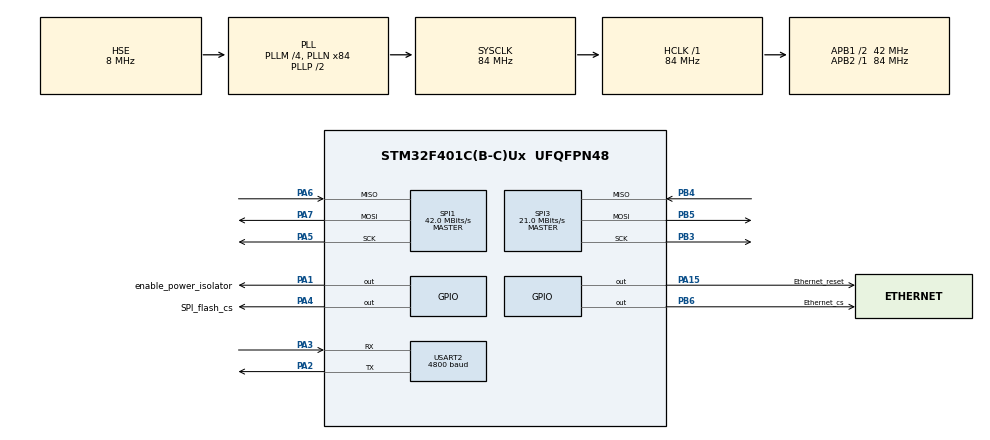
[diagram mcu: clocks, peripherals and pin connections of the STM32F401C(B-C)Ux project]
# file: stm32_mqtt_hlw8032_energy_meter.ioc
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FREERTOS.HEAP_NUMBER=1
FREERTOS.Mutexes01=Network,Dynamic,NULL;LFS,Dynamic,NULL;Socket,Dynamic,NULL;ServiceSocket,Dynamic,NULL
FREERTOS.Queues01=rowPowerSensorQ,1,30,1,Dynamic,NULL,NULL;EthernetInfoQ,1,Ethernet_info_struct,0,Dynamic,NULL,NULL;PowerDataQ,1,PowerSensStruct,0,Dynamic,NULL,NULL;Curr_sensor_settings,1,P_sens_sett_struct,0,Dynamic,NULL,NULL;mqttQ,1,MQTT_cred_struct,0,Dynamic,NULL,NULL;mb_tcp_settingsQ,1,ModBusTCP_struct,0,Dynamic,NULL,NULL;uptimeQ,1,uint32_t,0,Dynamic,NULL,NULL
FREERTOS.Tasks01=defaultTask,24,128,StartDefaultTask,Default,NULL,Dynamic,NULL,NULL;SensorsTask,8,128,vSensorsTask,Default,NULL,Dynamic,NULL,NULL;RW_Settings_Tas,8,900,vRW_Settings_Tas,Default,NULL,Dynamic,NULL,NULL;oneSecondTickTa,8,200,vOneSecondTickTask,Default,NULL,Dynamic,NULL,NULL;maintEthTask,8,2000,vMaintEthTask,Default,NULL,Dynamic,NULL,NULL;DebugMemUsageT,8,128,vDebugMemUsage,Default,NULL,Dynamic,NULL,NULL;httpServTask,8,2000,httpServ,Default,NULL,Dynamic,NULL,NULL;mqttClientTask,8,1000,vMQTT_Task,Default,NULL,Dynamic,NULL,NULL;resetWatchDog,8,128,vResetWatchDog,Default,NULL,Dynamic,NULL,NULL;SendBroadcast,8,256,vSendBroadcast,Default,NULL,Dynamic,NULL,NULL
FREERTOS.configGENERATE_RUN_TIME_STATS=1
FREERTOS.configQUEUE_REGISTRY_SIZE=10
FREERTOS.configTOTAL_HEAP_SIZE=45360
FREERTOS.configUSE_NEWLIB_REENTRANT=1
FREERTOS.configUSE_TICK_HOOK=1
IWDG.Prescaler=IWDG_PRESCALER_256
MBEDTLS.MBEDTLS_AESNI_C=1
MBEDTLS.MBEDTLS_MD2_C=1
MBEDTLS.MBEDTLS_MD4_C=1
MBEDTLS.MBEDTLS_MD5_C=1
MBEDTLS.MBEDTLS_NIST_KW_C=1
MBEDTLS.MBEDTLS_TCP_IP=0
MBEDTLS.MBEDTLS_X509_CRL_PARSE_C=1
MBEDTLS.MBEDTLS_X509_CSR_PARSE_C=1
MBEDTLS.MBEDTLS_XTEA_C=1
Mcu.Family=STM32F4
Mcu.Name=STM32F401C(B-C)Ux
Mcu.Package=UFQFPN48
NVIC.PriorityGroup=NVIC_PRIORITYGROUP_4
NVIC.TIM1_UP_TIM10_IRQn=true\:15\:0\:false\:false\:true\:false\:false\:true\:true
NVIC.TimeBase=TIM1_UP_TIM10_IRQn
NVIC.TimeBaseIP=TIM1
NVIC.USART2_IRQn=true\:5\:0\:false\:false\:true\:true\:true\:true\:true
PA1.GPIO_Label=enable_power_isolator
PA1.PinState=GPIO_PIN_SET
PA1.Signal=GPIO_Output
PA13.Mode=Serial_Wire
PA13.Signal=SYS_JTMS-SWDIO
PA14.Mode=Serial_Wire
PA14.Signal=SYS_JTCK-SWCLK
PA15.GPIO_Label=Ethernet_reset
PA15.Signal=GPIO_Output
PA2.Mode=Asynchronous
PA2.Signal=USART2_TX
PA3.Mode=Asynchronous
PA3.Signal=USART2_RX
PA4.GPIO_Label=SPI_flash_cs
PA4.GPIO_Speed=GPIO_SPEED_FREQ_VERY_HIGH
PA4.PinState=GPIO_PIN_SET
PA4.Signal=GPIO_Output
PA5.Mode=Full_Duplex_Master
PA5.Signal=SPI1_SCK
PA6.Mode=Full_Duplex_Master
PA6.Signal=SPI1_MISO
PA7.Mode=Full_Duplex_Master
PA7.Signal=SPI1_MOSI
PB3.Mode=Full_Duplex_Master
PB3.Signal=SPI3_SCK
PB4.Mode=Full_Duplex_Master
PB4.Signal=SPI3_MISO
PB5.Mode=Full_Duplex_Master
PB5.Signal=SPI3_MOSI
PB6.GPIO_Label=Ethernet_cs
PB6.Signal=GPIO_Output
PH0\ -\ OSC_IN.Mode=HSE-External-Oscillator
PH0\ -\ OSC_IN.Signal=RCC_OSC_IN
PH1\ -\ OSC_OUT.Mode=HSE-External-Oscillator
PH1\ -\ OSC_OUT.Signal=RCC_OSC_OUT
ProjectManager.HeapSize=0x200
ProjectManager.StackSize=0x400
ProjectManager.TargetToolchain=STM32CubeIDE
RCC.48MHZClocksFreq_Value=42000000
RCC.AHBFreq_Value=84000000
RCC.APB1CLKDivider=RCC_HCLK_DIV2
RCC.APB1Freq_Value=42000000
RCC.APB1TimFreq_Value=84000000
RCC.APB2Freq_Value=84000000
RCC.APB2TimFreq_Value=84000000
RCC.CortexFreq_Value=84000000
RCC.HCLKFreq_Value=84000000
RCC.HSE_VALUE=8000000
RCC.HSI_VALUE=16000000
RCC.LSE_VALUE=32768
RCC.PLLM=4
RCC.PLLN=84
RCC.PLLSourceVirtual=RCC_PLLSOURCE_HSE
RCC.SYSCLKFreq_VALUE=84000000
RCC.SYSCLKSource=RCC_SYSCLKSOURCE_PLLCLK
RCC.VCOOutputFreq_Value=168000000
SPI1.BaudRatePrescaler=SPI_BAUDRATEPRESCALER_2
SPI1.CLKPhase=SPI_PHASE_2EDGE
SPI1.CLKPolarity=SPI_POLARITY_HIGH
SPI1.CRCCalculation=SPI_CRCCALCULATION_DISABLE
SPI1.CalculateBaudRate=42.0 MBits/s
SPI1.Direction=SPI_DIRECTION_2LINES
SPI1.Mode=SPI_MODE_MASTER
SPI1.VirtualType=VM_MASTER
SPI3.BaudRatePrescaler=SPI_BAUDRATEPRESCALER_2
SPI3.CLKPhase=SPI_PHASE_2EDGE
SPI3.CLKPolarity=SPI_POLARITY_HIGH
SPI3.CalculateBaudRate=21.0 MBits/s
SPI3.Direction=SPI_DIRECTION_2LINES
SPI3.Mode=SPI_MODE_MASTER
SPI3.VirtualType=VM_MASTER
USART2.BaudRate=4800
USART2.Mode=MODE_RX
USART2.Parity=PARITY_EVEN
USART2.VirtualMode=VM_ASYNC
USART2.WordLength=WORDLENGTH_9B
VP_CRC_VS_CRC.Mode=CRC_Activate
VP_FREERTOS_VS_CMSIS_V2.Mode=CMSIS_V2
VP_IWDG_VS_IWDG.Mode=IWDG_Activate
VP_MBEDTLS_VS_MBEDTLS.Mode=Enabled
VP_SYS_VS_tim1.Mode=TIM1
board=custom

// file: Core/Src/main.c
/* USER CODE BEGIN Header */
/**
  ******************************************************************************
  * @file           : main.c
  * @brief          : Main program body
  ******************************************************************************
  * @attention
  *
  * Copyright (c) 2024 STMicroelectronics.
  * All rights reserved.
  *
  * This software is licensed under terms that can be found in the LICENSE file
  * in the root directory of this software component.
  * If no LICENSE file comes with this software, it is provided AS-IS.
  *
  ******************************************************************************
  */
/* USER CODE END Header */
#include "main.h"
#include "cmsis_os.h"
#include "mbedtls.h"

/* USER CODE BEGIN Includes */
#include "queue.h"
#include "HLW8032.h"
#include "SPI_flash_io.h"
#include "SPI_flash.h"
#include "spi_fs.h"
#include "lfs.h"
#include "lfs_config.h"

#include "ll_SPI_enh_abstractions.h"
#include "w5500.h"
#include "dhcp.h"
#include "socket.h"
#include "httpServer.h"
#include "httpUtil.h"
#include "ethernet_init.h"
#include "dns_service.h"
#include "http_app.h"
#include "dns_service.h"
#include "mqtt_gen_strings.h"
#include "mqtt_app.h"
#include "broadcast_mess.h"

#include "data_types.h"
#include "web_pages.h"
#include "md5.h"

/* USER CODE END Includes */

CRC_HandleTypeDef hcrc;

IWDG_HandleTypeDef hiwdg;

SPI_HandleTypeDef hspi1;
SPI_HandleTypeDef hspi3;

UART_HandleTypeDef huart2;

/* Definitions for defaultTask */
osThreadId_t defaultTaskHandle;
const osThreadAttr_t defaultTask_attributes = {
  .name = "defaultTask",
  .stack_size = 128 * 4,
  .priority = (osPriority_t) osPriorityNormal,
};
/* Definitions for SensorsTask */
osThreadId_t SensorsTaskHandle;
const osThreadAttr_t SensorsTask_attributes = {
  .name = "SensorsTask",
  .stack_size = 128 * 4,
  .priority = (osPriority_t) osPriorityLow,
};
/* Definitions for RW_Settings_Tas */
osThreadId_t RW_Settings_TasHandle;
const osThreadAttr_t RW_Settings_Tas_attributes = {
  .name = "RW_Settings_Tas",
  .stack_size = 900 * 4,
  .priority = (osPriority_t) osPriorityLow,
};
/* Definitions for oneSecondTickTa */
osThreadId_t oneSecondTickTaHandle;
const osThreadAttr_t oneSecondTickTa_attributes = {
  .name = "oneSecondTickTa",
  .stack_size = 200 * 4,
  .priority = (osPriority_t) osPriorityLow,
};
/* Definitions for maintEthTask */
osThreadId_t maintEthTaskHandle;
const osThreadAttr_t maintEthTask_attributes = {
  .name = "maintEthTask",
  .stack_size = 2000 * 4,
  .priority = (osPriority_t) osPriorityLow,
};
/* Definitions for DebugMemUsageT */
osThreadId_t DebugMemUsageTHandle;
const osThreadAttr_t DebugMemUsageT_attributes = {
  .name = "DebugMemUsageT",
  .stack_size = 128 * 4,
  .priority = (osPriority_t) osPriorityLow,
};
/* Definitions for httpServTask */
osThreadId_t httpServTaskHandle;
const osThreadAttr_t httpServTask_attributes = {
  .name = "httpServTask",
  .stack_size = 2000 * 4,
  .priority = (osPriority_t) osPriorityLow,
};
/* Definitions for mqttClientTask */
osThreadId_t mqttClientTaskHandle;
const osThreadAttr_t mqttClientTask_attributes = {
  .name = "mqttClientTask",
  .stack_size = 1000 * 4,
  .priority = (osPriority_t) osPriorityLow,
};
/* Definitions for resetWatchDog */
osThreadId_t resetWatchDogHandle;
const osThreadAttr_t resetWatchDog_attributes = {
  .name = "resetWatchDog",
  .stack_size = 128 * 4,
  .priority = (osPriority_t) osPriorityLow,
};
/* Definitions for SendBroadcast */
osThreadId_t SendBroadcastHandle;
const osThreadAttr_t SendBroadcast_attributes = {
  .name = "SendBroadcast",
  .stack_size = 256 * 4,
  .priority = (osPriority_t) osPriorityLow,
};
/* Definitions for rowPowerSensorQ */
osMessageQueueId_t rowPowerSensorQHandle;
const osMessageQueueAttr_t rowPowerSensorQ_attributes = {
  .name = "rowPowerSensorQ"
};
/* Definitions for EthernetInfoQ */
osMessageQueueId_t EthernetInfoQHandle;
const osMessageQueueAttr_t EthernetInfoQ_attributes = {
  .name = "EthernetInfoQ"
};
/* Definitions for PowerDataQ */
osMessageQueueId_t PowerDataQHandle;
const osMessageQueueAttr_t PowerDataQ_attributes = {
  .name = "PowerDataQ"
};
/* Definitions for Curr_sensor_settings */
osMessageQueueId_t Curr_sensor_settingsHandle;
const osMessageQueueAttr_t Curr_sensor_settings_attributes = {
  .name = "Curr_sensor_settings"
};
/* Definitions for mqttQ */
osMessageQueueId_t mqttQHandle;
const osMessageQueueAttr_t mqttQ_attributes = {
  .name = "mqttQ"
};
/* Definitions for mb_tcp_settingsQ */
osMessageQueueId_t mb_tcp_settingsQHandle;
const osMessageQueueAttr_t mb_tcp_settingsQ_attributes = {
  .name = "mb_tcp_settingsQ"
};
/* Definitions for uptimeQ */
osMessageQueueId_t uptimeQHandle;
const osMessageQueueAttr_t uptimeQ_attributes = {
  .name = "uptimeQ"
};
/* Definitions for Network */
osMutexId_t NetworkHandle;
const osMutexAttr_t Network_attributes = {
  .name = "Network"
};
/* Definitions for LFS */
osMutexId_t LFSHandle;
const osMutexAttr_t LFS_attributes = {
  .name = "LFS"
};
/* Definitions for Socket */
osMutexId_t SocketHandle;
const osMutexAttr_t Socket_attributes = {
  .name = "Socket"
};
/* Definitions for ServiceSocket */
osMutexId_t ServiceSocketHandle;
const osMutexAttr_t ServiceSocket_attributes = {
  .name = "ServiceSocket"
};
/* USER CODE BEGIN PV */
/* Define buffer for UART communication with power sensor via interrupt */
uint8_t data_bufer[30];
float	test_kWh_from_flash = 0.0;
float   test_kWh_from_read  = 0.0;
/* Define Memory pool for Ethernet info  */
//osMemoryPoolId_t EthernetEthPool;

/* USER CODE END PV */

void SystemClock_Config(void);
static void MX_GPIO_Init(void);
static void MX_USART2_UART_Init(void);
static void MX_SPI1_Init(void);
static void MX_SPI3_Init(void);
static void MX_CRC_Init(void);
static void MX_IWDG_Init(void);
void StartDefaultTask(void *argument);
void vSensorsTask(void *argument);
void vRW_Settings_Tas(void *argument);
void vOneSecondTickTask(void *argument);
void vMaintEthTask(void *argument);
void vDebugMemUsage(void *argument);
void httpServ(void *argument);
void vMQTT_Task(void *argument);
void vResetWatchDog(void *argument);
void vSendBroadcast(void *argument);

/* USER CODE BEGIN PFP */
void EthMutexTake(void);
void EthMutexRelease (void);
/* USER CODE END PFP */

/* USER CODE BEGIN 0 */
void HAL_UARTEx_RxEventCallback(UART_HandleTypeDef *huart, uint16_t Size){

	if (huart->Instance == USART2){
		if (Size == 24){
			if (!osMessageQueueGetCount(rowPowerSensorQHandle)){
				osMessageQueuePut(rowPowerSensorQHandle, &data_bufer, 0, 0);
			}
			HAL_UARTEx_ReceiveToIdle_IT(&huart2, data_bufer,  24);
		}
	}
}

void EthMutexTake(void){
	osMutexAcquire(NetworkHandle, osWaitForever);
}

void EthMutexRelease(void){
	osMutexRelease(NetworkHandle);
}

void LfsMutexTake(void){
	osMutexAcquire(LFSHandle, osWaitForever);
}

void LfsMutexRelease(void){
	osMutexRelease(LFSHandle);
}

void SocketMutexTake(void){
	osMutexAcquire(SocketHandle, osWaitForever);
}

void SocketMutexRelease(void){
	osMutexRelease(SocketHandle);
}

void ServiceSockMutexTake(){
	osMutexAcquire(ServiceSocketHandle, osWaitForever);
}

void ServiceSockMutexRelease(){
	osMutexRelease(ServiceSocketHandle);
}

void PowerON_HLW8032(){
	HAL_GPIO_WritePin(GPIOA, enable_power_isolator_Pin,GPIO_PIN_RESET);
}

void PowerOFF_HLW8032(){
	HAL_GPIO_WritePin(GPIOA, enable_power_isolator_Pin,GPIO_PIN_SET);
}

//void vApplicationTickHook(void){

//}
/* USER CODE END 0 */

int main(void)
{
  /* USER CODE BEGIN 1 */
	__disable_irq();
	SCB->VTOR = (uint32_t)0x08000000 | (0x08010000 & (uint32_t)0x1FFFFF80);
	 //NVIC_SetVectorTable(NVIC_VectTab_FLASH, 0x08010000);
	__enable_irq();
  /* USER CODE END 1 */

  /* MCU Configuration--------------------------------------------------------*/

  /* Reset of all peripherals, Initializes the Flash interface and the Systick. */
  HAL_Init();

  /* Configure the system clock */
  SystemClock_Config();

  /* USER CODE BEGIN SysInit */
  dns_service_reg_cb_net_ready(assigned_ip);
  /* USER CODE END SysInit */

  /* Initialize all configured peripherals */
  MX_GPIO_Init();
  MX_USART2_UART_Init();
  MX_SPI1_Init();
  MX_SPI3_Init();
  MX_MBEDTLS_Init();
  MX_CRC_Init();
  MX_IWDG_Init();
  /* Call PreOsInit function */
  MX_MBEDTLS_Init();
  /* USER CODE BEGIN 2 */
  /* add EthernetEthPool */
//  EthernetEthPool = osMemoryPoolNew(1, sizeof(Ethernet_info_struct), NULL);
//  if (EthernetEthPool == NULL) Error_Handler();

  /* USER CODE END 2 */

  /* Init scheduler */
  osKernelInitialize();
  /* Create the mutex(es) */
  /* creation of Network */
  NetworkHandle = osMutexNew(&Network_attributes);

  /* creation of LFS */
  LFSHandle = osMutexNew(&LFS_attributes);

  /* creation of Socket */
  SocketHandle = osMutexNew(&Socket_attributes);

  /* creation of ServiceSocket */
  ServiceSocketHandle = osMutexNew(&ServiceSocket_attributes);

  /* Create the queue(s) */
  /* creation of rowPowerSensorQ */
  rowPowerSensorQHandle = osMessageQueueNew (1, 30, &rowPowerSensorQ_attributes);

  /* creation of EthernetInfoQ */
  EthernetInfoQHandle = osMessageQueueNew (1, sizeof(Ethernet_info_struct), &EthernetInfoQ_attributes);

  /* creation of PowerDataQ */
  PowerDataQHandle = osMessageQueueNew (1, sizeof(PowerSensStruct), &PowerDataQ_attributes);

  /* creation of Curr_sensor_settings */
  Curr_sensor_settingsHandle = osMessageQueueNew (1, sizeof(P_sens_sett_struct), &Curr_sensor_settings_attributes);

  /* creation of mqttQ */
  mqttQHandle = osMessageQueueNew (1, sizeof(MQTT_cred_struct), &mqttQ_attributes);

  /* creation of mb_tcp_settingsQ */
  mb_tcp_settingsQHandle = osMessageQueueNew (1, sizeof(ModBusTCP_struct), &mb_tcp_settingsQ_attributes);

  /* creation of uptimeQ */
  uptimeQHandle = osMessageQueueNew (1, sizeof(uint32_t), &uptimeQ_attributes);

  /* Create the thread(s) */
  /* creation of defaultTask */
  defaultTaskHandle = osThreadNew(StartDefaultTask, NULL, &defaultTask_attributes);

  /* creation of SensorsTask */
  SensorsTaskHandle = osThreadNew(vSensorsTask, NULL, &SensorsTask_attributes);

  /* creation of RW_Settings_Tas */
  RW_Settings_TasHandle = osThreadNew(vRW_Settings_Tas, NULL, &RW_Settings_Tas_attributes);

  /* creation of oneSecondTickTa */
  oneSecondTickTaHandle = osThreadNew(vOneSecondTickTask, NULL, &oneSecondTickTa_attributes);

  /* creation of maintEthTask */
  maintEthTaskHandle = osThreadNew(vMaintEthTask, NULL, &maintEthTask_attributes);

  /* creation of DebugMemUsageT */
  DebugMemUsageTHandle = osThreadNew(vDebugMemUsage, NULL, &DebugMemUsageT_attributes);

  /* creation of httpServTask */
  httpServTaskHandle = osThreadNew(httpServ, NULL, &httpServTask_attributes);

  /* creation of mqttClientTask */
  mqttClientTaskHandle = osThreadNew(vMQTT_Task, NULL, &mqttClientTask_attributes);

  /* creation of resetWatchDog */
  resetWatchDogHandle = osThreadNew(vResetWatchDog, NULL, &resetWatchDog_attributes);

  /* creation of SendBroadcast */
  SendBroadcastHandle = osThreadNew(vSendBroadcast, NULL, &SendBroadcast_attributes);

  /* Start scheduler */
  osKernelStart();

  /* We should never get here as control is now taken by the scheduler */
  /* Infinite loop */
  while (1)
  {

  }
}

void SystemClock_Config(void)
{
  RCC_OscInitTypeDef RCC_OscInitStruct = {0};
  RCC_ClkInitTypeDef RCC_ClkInitStruct = {0};

  /** Configure the main internal regulator output voltage
  */
  __HAL_RCC_PWR_CLK_ENABLE();
  __HAL_PWR_VOLTAGESCALING_CONFIG(PWR_REGULATOR_VOLTAGE_SCALE2);

  /** Initializes the RCC Oscillators according to the specified parameters
  * in the RCC_OscInitTypeDef structure.
  */
  RCC_OscInitStruct.OscillatorType = RCC_OSCILLATORTYPE_LSI|RCC_OSCILLATORTYPE_HSE;
  RCC_OscInitStruct.HSEState = RCC_HSE_ON;
  RCC_OscInitStruct.LSIState = RCC_LSI_ON;
  RCC_OscInitStruct.PLL.PLLState = RCC_PLL_ON;
  RCC_OscInitStruct.PLL.PLLSource = RCC_PLLSOURCE_HSE;
  RCC_OscInitStruct.PLL.PLLM = 4;
  RCC_OscInitStruct.PLL.PLLN = 84;
  RCC_OscInitStruct.PLL.PLLP = RCC_PLLP_DIV2;
  RCC_OscInitStruct.PLL.PLLQ = 4;
  if (HAL_RCC_OscConfig(&RCC_OscInitStruct) != HAL_OK)
  {
    Error_Handler();
  }

  /** Initializes the CPU, AHB and APB buses clocks
  */
  RCC_ClkInitStruct.ClockType = RCC_CLOCKTYPE_HCLK|RCC_CLOCKTYPE_SYSCLK
                              |RCC_CLOCKTYPE_PCLK1|RCC_CLOCKTYPE_PCLK2;
  RCC_ClkInitStruct.SYSCLKSource = RCC_SYSCLKSOURCE_PLLCLK;
  RCC_ClkInitStruct.AHBCLKDivider = RCC_SYSCLK_DIV1;
  RCC_ClkInitStruct.APB1CLKDivider = RCC_HCLK_DIV2;
  RCC_ClkInitStruct.APB2CLKDivider = RCC_HCLK_DIV1;

  if (HAL_RCC_ClockConfig(&RCC_ClkInitStruct, FLASH_LATENCY_2) != HAL_OK)
  {
    Error_Handler();
  }
}

static void MX_CRC_Init(void)
{

  hcrc.Instance = CRC;
  if (HAL_CRC_Init(&hcrc) != HAL_OK)
  {
    Error_Handler();
  }

}

static void MX_IWDG_Init(void)
{

  hiwdg.Instance = IWDG;
  hiwdg.Init.Prescaler = IWDG_PRESCALER_256;
  hiwdg.Init.Reload = 4095;
  if (HAL_IWDG_Init(&hiwdg) != HAL_OK)
  {
    Error_Handler();
  }

}

static void MX_SPI1_Init(void)
{

  /* SPI1 parameter configuration*/
  hspi1.Instance = SPI1;
  hspi1.Init.Mode = SPI_MODE_MASTER;
  hspi1.Init.Direction = SPI_DIRECTION_2LINES;
  hspi1.Init.DataSize = SPI_DATASIZE_8BIT;
  hspi1.Init.CLKPolarity = SPI_POLARITY_HIGH;
  hspi1.Init.CLKPhase = SPI_PHASE_2EDGE;
  hspi1.Init.NSS = SPI_NSS_SOFT;
  hspi1.Init.BaudRatePrescaler = SPI_BAUDRATEPRESCALER_2;
  hspi1.Init.FirstBit = SPI_FIRSTBIT_MSB;
  hspi1.Init.TIMode = SPI_TIMODE_DISABLE;
  hspi1.Init.CRCCalculation = SPI_CRCCALCULATION_DISABLE;
  hspi1.Init.CRCPolynomial = 10;
  if (HAL_SPI_Init(&hspi1) != HAL_OK)
  {
    Error_Handler();
  }

}

static void MX_SPI3_Init(void)
{

  /* SPI3 parameter configuration*/
  hspi3.Instance = SPI3;
  hspi3.Init.Mode = SPI_MODE_MASTER;
  hspi3.Init.Direction = SPI_DIRECTION_2LINES;
  hspi3.Init.DataSize = SPI_DATASIZE_8BIT;
  hspi3.Init.CLKPolarity = SPI_POLARITY_HIGH;
  hspi3.Init.CLKPhase = SPI_PHASE_2EDGE;
  hspi3.Init.NSS = SPI_NSS_SOFT;
  hspi3.Init.BaudRatePrescaler = SPI_BAUDRATEPRESCALER_2;
  hspi3.Init.FirstBit = SPI_FIRSTBIT_MSB;
  hspi3.Init.TIMode = SPI_TIMODE_DISABLE;
  hspi3.Init.CRCCalculation = SPI_CRCCALCULATION_DISABLE;
  hspi3.Init.CRCPolynomial = 10;
  if (HAL_SPI_Init(&hspi3) != HAL_OK)
  {
    Error_Handler();
  }

}

static void MX_USART2_UART_Init(void)
{

  huart2.Instance = USART2;
  huart2.Init.BaudRate = 4800;
  huart2.Init.WordLength = UART_WORDLENGTH_9B;
  huart2.Init.StopBits = UART_STOPBITS_1;
  huart2.Init.Parity = UART_PARITY_EVEN;
  huart2.Init.Mode = UART_MODE_RX;
  huart2.Init.HwFlowCtl = UART_HWCONTROL_NONE;
  huart2.Init.OverSampling = UART_OVERSAMPLING_16;
  if (HAL_UART_Init(&huart2) != HAL_OK)
  {
    Error_Handler();
  }

}

static void MX_GPIO_Init(void)
{
  GPIO_InitTypeDef GPIO_InitStruct = {0};

  /* GPIO Ports Clock Enable */
  __HAL_RCC_GPIOH_CLK_ENABLE();
  __HAL_RCC_GPIOA_CLK_ENABLE();
  __HAL_RCC_GPIOB_CLK_ENABLE();

  /*Configure GPIO pin Output Level */
  HAL_GPIO_WritePin(GPIOA, enable_power_isolator_Pin|SPI_flash_cs_Pin, GPIO_PIN_SET);

  /*Configure GPIO pin Output Level */
  HAL_GPIO_WritePin(Ethernet_reset_GPIO_Port, Ethernet_reset_Pin, GPIO_PIN_RESET);

  /*Configure GPIO pin Output Level */
  HAL_GPIO_WritePin(Ethernet_cs_GPIO_Port, Ethernet_cs_Pin, GPIO_PIN_RESET);

  /*Configure GPIO pins : enable_power_isolator_Pin Ethernet_reset_Pin */
  GPIO_InitStruct.Pin = enable_power_isolator_Pin|Ethernet_reset_Pin;
  GPIO_InitStruct.Mode = GPIO_MODE_OUTPUT_PP;
  GPIO_InitStruct.Pull = GPIO_NOPULL;
  GPIO_InitStruct.Speed = GPIO_SPEED_FREQ_LOW;
  HAL_GPIO_Init(GPIOA, &GPIO_InitStruct);

  /*Configure GPIO pin : SPI_flash_cs_Pin */
  GPIO_InitStruct.Pin = SPI_flash_cs_Pin;
  GPIO_InitStruct.Mode = GPIO_MODE_OUTPUT_PP;
  GPIO_InitStruct.Pull = GPIO_NOPULL;
  GPIO_InitStruct.Speed = GPIO_SPEED_FREQ_VERY_HIGH;
  HAL_GPIO_Init(SPI_flash_cs_GPIO_Port, &GPIO_InitStruct);

  /*Configure GPIO pin : Ethernet_cs_Pin */
  GPIO_InitStruct.Pin = Ethernet_cs_Pin;
  GPIO_InitStruct.Mode = GPIO_MODE_OUTPUT_PP;
  GPIO_InitStruct.Pull = GPIO_NOPULL;
  GPIO_InitStruct.Speed = GPIO_SPEED_FREQ_LOW;
  HAL_GPIO_Init(Ethernet_cs_GPIO_Port, &GPIO_InitStruct);

}

void StartDefaultTask(void *argument)
{
  for(;;)
  {
    osDelay(1);
  }
}

void vSensorsTask(void *argument)
{
  /* USER CODE BEGIN vSensorsTask */
	uint32_t			temp;
	uint8_t				array[30];
	PowerSensStruct		PowerData;
	P_sens_sett_struct	PowerSett;
	uint32_t			count = 0;
	float				old_resistance;

	PowerSett.resistance = 0.001;
	PowerSett.save = 0;
	//xQueueOverwrite(Curr_sensor_settingsHandle, (void *)&PowerSett);

	osDelay(delay5s);

	xQueuePeek(Curr_sensor_settingsHandle ,&PowerSett,0);
	old_resistance = PowerSett.resistance;
	PowerOFF_HLW8032();
	osDelay(delay0_5s);
	USART2->DR; //read data from register if exist
	HAL_UARTEx_ReceiveToIdle_IT(&huart2, data_bufer,  24);
	osDelay(delay1s);
	PowerON_HLW8032();

	sens_task_start:

	InitHLW8032(1880000, 1000, PowerSett.resistance);
  /* Infinite loop */
  for(;;)
  {
	if (osMessageQueueGet	(rowPowerSensorQHandle,&array,NULL, 1000) != osErrorTimeout ){
		if( RecvRawString((const unsigned char *)array) == 0){ // all OK if return 0
			test_kWh_from_read 				= GetKWh();
			PowerData.KWatt_h 				= GetKWh()+ test_kWh_from_flash;
			PowerData.Voltage 				= GetVoltage();
			PowerData.ApparPower 			= GetApparentPower();
			PowerData.ActivePower 			= GetActivePower();
			PowerData.Current 				= GetCurrent();
			PowerData.PowerFactor			= PowerFactor();
			PowerData.test_pulse_counter 	= GetTestPulse();
			PowerData.readed_counter 		= GetCountedPulse();
			PowerData.PF_reg				= GetPFReg();
			xQueueOverwrite(PowerDataQHandle, (void *)&PowerData);
		}
	}else{
		count++;
		while (HAL_UARTEx_ReceiveToIdle_IT(&huart2, data_bufer,  24) == HAL_ERROR){
			temp = USART2->DR;
			osThreadYield();
		}
	}
	osThreadYield
	();
    xQueuePeek(Curr_sensor_settingsHandle ,&PowerSett,0);
    if (PowerSett.resistance != old_resistance){
    	old_resistance = PowerSett.resistance;
    	goto sens_task_start;
    }
  }
  /* USER CODE END vSensorsTask */
}

void vRW_Settings_Tas(void *argument)
{
  /* USER CODE BEGIN vRW_Settings_Tas */
	uint8_t 				buff_read[256];
	uint8_t 				buff_write[256];
	uint8_t 				lookheadbuf[256];
	P_sens_sett_struct		PowerSett;
	MQTT_cred_struct		MQTT_cred;
	ModBusTCP_struct		mb_tcp_sett;
	uint32_t				next_update = 20, time_counter = 0;
	PowerSensStruct			PowerData;
	float					KWatt_h_old = 0;

	SPI_flash_set(hspi1);
	SPI_flash_reg_cb(SPI_flash_select, SPI_flash_deselect, SPI_flash_read_byte, SPI_flash_send_byte);
	spi_fs_init(buff_read, buff_write, lookheadbuf, 256 );
	spi_fs_init_mutex(LfsMutexTake, LfsMutexRelease);

	if (spi_fs_mount() < 0){
		sFLASH_EraseBulk();
		spi_fs_format();
		spi_fs_mount();
	}

	if (0 < spi_fs_file_size(POW_SETT_FILE)){
		spi_fs_read_file_offset(POW_SETT_FILE, &PowerSett, 0, sizeof(PowerSett));
		xQueueOverwrite(Curr_sensor_settingsHandle ,(void *)&PowerSett);
	}else{
		PowerSett.resistance 	= DEFAULT_SHUNT_RESISTANSE;
		PowerSett.save 			= 1;
		xQueueOverwrite(Curr_sensor_settingsHandle ,(void *)&PowerSett);
	}

	if (0 < spi_fs_file_size(MQTT_SETT_FILE)){
		spi_fs_read_file_offset(MQTT_SETT_FILE, &MQTT_cred, 0, sizeof(MQTT_cred));
		xQueueOverwrite(mqttQHandle ,(void *)&MQTT_cred);
	}else{
		MQTT_cred.save 			= 1;
		MQTT_cred.enable		= 0;
		MQTT_cred.login[0]		= '\0';
		MQTT_cred.pass[0]		= '\0';
		MQTT_cred.uri[0]		= '\0';
		xQueueOverwrite(mqttQHandle ,(void *)&MQTT_cred);
	}

	if (0 < spi_fs_file_size(MB_TCP_SETT_FILE)){
		spi_fs_read_file_offset(MB_TCP_SETT_FILE, &mb_tcp_sett, 0, sizeof(mb_tcp_sett));
		xQueueOverwrite(mb_tcp_settingsQHandle ,(void *)&mb_tcp_sett);
	}else{
		mb_tcp_sett.enable 		= 0;
		mb_tcp_sett.save		= 1;
	}

	if (0 < spi_fs_file_size(KW_COUNT_STOR_FILE)){
		spi_fs_read_file_offset(KW_COUNT_STOR_FILE, &test_kWh_from_flash, 0, sizeof(test_kWh_from_flash));
		KWatt_h_old = test_kWh_from_flash;
	}else{
		test_kWh_from_flash = 0.0;
		KWatt_h_old 		= 0.0;
		spi_fs_over_write_file(KW_COUNT_STOR_FILE, &test_kWh_from_flash, sizeof(test_kWh_from_flash));

	}

	spi_fs_mkdir("/web");
	spi_fs_remove_recurcuve_in("/firmware");
	spi_fs_mkdir("/firmware");
	/* Infinite loop */

  for(;;)
  {
	  xQueuePeek(Curr_sensor_settingsHandle, (void *)&PowerSett, 0);
	  if (PowerSett.save){
		  PowerSett.save = 0;
		  spi_fs_over_write_file(POW_SETT_FILE, &PowerSett, sizeof(PowerSett));
		  xQueueOverwrite(Curr_sensor_settingsHandle ,(void *)&PowerSett);
	  }

	  xQueuePeek(mqttQHandle, (void *)&MQTT_cred, 0);
	  if (MQTT_cred.save){
		  MQTT_cred.save = 0;
		  spi_fs_over_write_file(MQTT_SETT_FILE, &MQTT_cred, sizeof(MQTT_cred));
		  xQueueOverwrite(mqttQHandle ,(void *)&MQTT_cred);
	  }

	  xQueuePeek(mb_tcp_settingsQHandle, (void *)&mb_tcp_sett, 0);
	  if (mb_tcp_sett.save){
		  mb_tcp_sett.save = 0;
		  spi_fs_over_write_file(MB_TCP_SETT_FILE, &mb_tcp_sett, sizeof(mb_tcp_sett));
	  }

	  xQueuePeek(PowerDataQHandle, (void *)&PowerData, 0);

	  if ((next_update < time_counter) || ((PowerData.KWatt_h - KWatt_h_old)> 1.0)){
		  spi_fs_over_write_file(KW_COUNT_STOR_FILE, &PowerData.KWatt_h, sizeof(PowerData.KWatt_h));
		  next_update += ENERGY_VALUE_SAVE_INTERVAL;
	  }

	  time_counter ++;
    osDelay(delay1s);
  }
  /* USER CODE END vRW_Settings_Tas */
}

void vOneSecondTickTask(void *argument)
{
  /* USER CODE BEGIN vOneSecondTickTask */
	uint32_t seconds;
	seconds = 0;
  /* Infinite loop */
  for(;;)
  {
	seconds++ ;
	DHCP_time_handler();
	httpServer_time_handler();
	dns_service_increment_second();
	xQueueOverwrite(uptimeQHandle, (void *)&seconds);
    osDelay(delay1s);
  }
  /* USER CODE END vOneSecondTickTask */
}

void vMaintEthTask(void *argument)
{
  /* USER CODE BEGIN vMaintEthTask */

	  wiz_NetInfo 			NetInfo;
	  Ethernet_info_struct	EthernetInfo;
	  uint8_t 				i;
	  uint8_t 				DHCP_DATABUF[SOCKET_BUFF_SIZE];
	  uint8_t				DNS_buff[SOCKET_BUFF_SIZE];

	  memset(&EthernetInfo, 0, sizeof(EthernetInfo));
	  memset(&NetInfo, 		0, sizeof(NetInfo));

	  NetInfo.mac[0]	= 0x40;
	  NetInfo.mac[1]	= 0x08;
	  NetInfo.mac[2]	= *(uint8_t*)(UID_BASE);
	  NetInfo.mac[3]	= *(uint8_t*)(UID_BASE + 0x01);
	  NetInfo.mac[4]	= *(uint8_t*)(UID_BASE + 0x02);
	  NetInfo.mac[5]	= *(uint8_t*)(UID_BASE + 0x03);

	  memcpy(&EthernetInfo.mac, &NetInfo.mac, sizeof(NetInfo.mac));
	  //for(i = 0; i < 6; i++){
	  //	EthernetInfo.mac[i] = NetInfo.mac[i];
	  //}

		//todo read from flash ip, netmask, dns, gateway

		//NetInfo.ip[0]	= 0, NetInfo.ip[1] 	= 0, NetInfo.ip[2] 	= 0, NetInfo.ip[3] 	= 0;
		//NetInfo.sn[0] 	= 0, NetInfo.sn[1] 	= 0, NetInfo.sn[2] 	= 0, NetInfo.sn[3] 	= 0;
		//NetInfo.gw[0] 	= 0, NetInfo.gw[1] 	= 0, NetInfo.gw[2] 	= 0, NetInfo.gw[3] 	= 0;
		//NetInfo.dns[0] 	= 0, NetInfo.dns[1] = 0, NetInfo.dns[2] = 0, NetInfo.dns[3] = 0;
		NetInfo.dhcp 	= NETINFO_DHCP;
		// TODO rewrite with memcpy function

		memcpy(&EthernetInfo.ip, &NetInfo.ip, sizeof(NetInfo.ip));
		memcpy(&EthernetInfo.sn, &NetInfo.sn, sizeof(NetInfo.sn));
		memcpy(&EthernetInfo.gw, &NetInfo.gw, sizeof(NetInfo.gw));
		memcpy(&EthernetInfo.dns, &NetInfo.dns, sizeof(NetInfo.dns));
		/*
		for(i = 0; i < 4; i++){
							EthernetInfo.ip[i] 	= NetInfo.ip[i];
							EthernetInfo.sn[i] 	= NetInfo.sn[i];
							EthernetInfo.gw[i] 	= NetInfo.gw[i];
							EthernetInfo.dns[i] = NetInfo.dns[i];
						}
*/
	  Reg_eth_spi(hspi3);
	  w5500_reset_cb(Eth_reset_on, Eth_reset_off);
	  w5500_delay_cb(osDelay);
	  w5500_lib_init(&NetInfo);
	  reg_wizchip_spi_cbfunc(Eth_spi_resv_byte, Eth_spi_send_byte);
	  reg_wizchip_cs_cbfunc(Eth_spi_select, Eth_spi_deselect);
	  reg_wizchip_cris_cbfunc(EthMutexTake, EthMutexRelease);
	  reg_dhcp_cbfunc(Callback_IPAssigned, Callback_IPAssigned, Callback_IPConflict);
	  dns_service_init(SERVICE_SOCKET, (uint8_t *)DNS_buff, SOCKET_BUFF_SIZE);
	  dns_service_reg_cb_net_ready(assigned_ip);
	  dns_service_reg_cb_mutex(ServiceSockMutexTake, ServiceSockMutexRelease);

  /* Infinite loop */
  for(;;)
  {
		EthernetInfo.dhcp = NetInfo.dhcp;
		EthernetInfo.link = 0;

		if (w5500_init() != 0)continue; //try from begin in fail case
		vTaskDelay(delay0_5s);
		setSHAR(NetInfo.mac);			//set mac address

		if (NetInfo.dhcp == NETINFO_DHCP){
			DHCP_init(DHCP_SOCKET, DHCP_DATABUF);
			//todo DNS_init();
		}else{
			network_init();
			set_ip_aasigned();
		}

		for(;;)
		{
			if (NetInfo.dhcp == NETINFO_DHCP){

			}
//xSemaphoreTake(SocketMutex, portMAX_DELAY);
			//osMutexAcquire(NetworkHandle, osWaitForever);
			SocketMutexTake();
			dhcp_rutine();

			if (!link_status()){
				NetInfo.ip[0]	= 0, NetInfo.ip[1] 	= 0, NetInfo.ip[2] 	= 0, NetInfo.ip[3] 	= 0;
				NetInfo.sn[0] 	= 0, NetInfo.sn[1] 	= 0, NetInfo.sn[2] 	= 0, NetInfo.sn[3] 	= 0;
				NetInfo.gw[0] 	= 0, NetInfo.gw[1] 	= 0, NetInfo.gw[2] 	= 0, NetInfo.gw[3] 	= 0;
				NetInfo.dns[0] 	= 0, NetInfo.dns[1] = 0, NetInfo.dns[2] = 0, NetInfo.dns[3] = 0;

//xSemaphoreGive(SocketMutex);
				//osMutexRelease(NetworkHandle);
				SocketMutexRelease();

				for(i = 0; i < 4; i++){
					EthernetInfo.ip[i] 	= NetInfo.ip[i];
					EthernetInfo.sn[i] 	= NetInfo.sn[i];
					EthernetInfo.gw[i] 	= NetInfo.gw[i];
					EthernetInfo.dns[i] = NetInfo.dns[i];
				}
				EthernetInfo.link 	= 0;
				xQueueOverwrite(EthernetInfoQHandle, (void *)&EthernetInfo);
				break;
			}

			for(i = 0; i < 4; i++){//todo rewrite for get info from dhcp calbac
				EthernetInfo.ip[i] 	= NetInfo.ip[i];
				EthernetInfo.sn[i] 	= NetInfo.sn[i];
				EthernetInfo.gw[i] 	= NetInfo.gw[i];
				EthernetInfo.dns[i] = NetInfo.dns[i];
			}

			EthernetInfo.link 		= 1;
			EthernetInfo.speed 		= link_speed();
			EthernetInfo.duplex 	= link_duplex();
			EthernetInfo.lease_s	= getDHCPLeasetime();

//xSemaphoreGive(SocketMutex);
			//osMutexRelease(NetworkHandle);
			//ctlnetwork(CN_GET_NETINFO, &NetInfo);
			SocketMutexRelease();

			if (NetInfo.ip[0]== 0){
				xQueueOverwrite(EthernetInfoQHandle, (void *)&EthernetInfo);
				osDelay(delay1s);
				continue;
			}

			// SET DNS SERVER IP
			dns_service_set_dns_ip((uint8_t*)&EthernetInfo.dns);
			xQueueOverwrite(EthernetInfoQHandle, (void *)&EthernetInfo);
			osDelay(delay1s);
		}
    osDelay(1);
  }
  /* USER CODE END vMaintEthTask */
}

void vDebugMemUsage(void *argument)
{
  /* USER CODE BEGIN vDebugMemUsage */
	uint32_t	mem;
  /* Infinite loop */
  for(;;)
  {
	  mem = osThreadGetStackSpace(defaultTaskHandle);
	  mem = osThreadGetStackSpace(SensorsTaskHandle);
	  mem = osThreadGetStackSpace(RW_Settings_TasHandle);
	  mem = osThreadGetStackSpace(oneSecondTickTaHandle);
	  mem = osThreadGetStackSpace(maintEthTaskHandle);
	  mem = osThreadGetStackSpace(DebugMemUsageTHandle);
	  mem = osThreadGetStackSpace(httpServTaskHandle);
	  mem = osThreadGetStackSpace(mqttClientTaskHandle);
	  mem = osThreadGetStackSpace(SendBroadcastHandle);
	  mem = osThreadGetStackSpace(NULL);
	  osDelay(delay1s);
  }
  /* USER CODE END vDebugMemUsage */
}

void httpServ(void *argument)
{
  /* USER CODE BEGIN httpServ */
	Ethernet_info_struct	EthernetInfo;
	uint8_t 				socknumlist[] = {HTTP_SERVER_SOCKET, HTTP_SERVER_SOCKET1, HTTP_SERVER_SOCKET2};
	uint8_t 				http_buffer_rx[2048];
	uint8_t 				http_buffer_tx[2048];
	uint8_t 				http_nsockets = sizeof(socknumlist) / sizeof(socknumlist[0]);
	uint8_t					i;

	httpServer_init(http_buffer_tx, http_buffer_rx, http_nsockets, socknumlist);		// Tx/Rx buffers (2 kB) / The number of W5500 chip H/W sockets in use
	reg_external_post_cgi_processor(http_post_cgi_processor);
	reg_external_get_cgi_processor(http_get_cgi_processor);

	http_parse_params_init(PowerDataQHandle,			PowrData);
	http_parse_params_init(Curr_sensor_settingsHandle,	PowrSensSett);
	http_parse_params_init(mqttQHandle,					MQTT);
	http_parse_params_init(mb_tcp_settingsQHandle,		ModBusTCP);
	http_parse_params_init(uptimeQHandle,				Uptime);

	reg_httpServer_webContent((uint8_t *)"index.html",			(uint8_t *)index_page);
	reg_httpServer_webContent((uint8_t *)"power_settings.html",	(uint8_t *)setting_resistance_sens_page);
	reg_httpServer_webContent((uint8_t *)"mqtt.html",			(uint8_t *)conf_page_mqtt);

  /* Infinite loop */
  for(;;)
  {
	  xQueuePeek(EthernetInfoQHandle, &EthernetInfo, 0);
	  if ((EthernetInfo.link == ETH_LINK_UP) && (assigned_ip() == true)){
		  for(i = 0 ; i < http_nsockets; i++){
			  SocketMutexTake();
			  httpServer_run(i); // HTTP Server handler
			  SocketMutexRelease();
			  //osDelay(delay0_1s);
			  taskYIELD();

		  }
	  }else{
		  osDelay(delay1s);
	  }
	  osDelay(delay0_1s);
	  //osDelay(delay0_1s);
  }
  /* USER CODE END httpServ */
}

void vMQTT_Task(void *argument)
{
  /* USER CODE BEGIN vMQTT_Task */
	Ethernet_info_struct	EthernetInfo;
	MQTT_cred_struct		MQTT_cred;
	PowerSensStruct			PowerData;
	char 					MQTT_SEND_BUF[MQTT_BUF_LEN];
	char 					MQTT_READ_BUF[MQTT_BUF_LEN];
	char					topik_name[TOPIK_MAX_LEN];
	char					topik_payload[128];

	init_mqtt_call_mutex(SocketMutexTake, SocketMutexRelease);
  /* Infinite loop */
	for(;;)
	{
		osDelay(delay1s);
		xQueuePeek(EthernetInfoQHandle,  &EthernetInfo, 0);
		if ((EthernetInfo.link != ETH_LINK_UP) || (assigned_ip() != true)){
			continue;
		}
		xQueuePeek(mqttQHandle, &MQTT_cred, 0);
		while (MQTT_cred.enable == 0){
			osDelay(delay1s);
			xQueuePeek(mqttQHandle, &MQTT_cred, 0);
		}
		if (!MQTT_cred.enable) continue; //TODO mybe remove;
		if (mqtt_client_init(&EthernetInfo, &MQTT_cred, MQTT_SEND_BUF, MQTT_BUF_LEN, MQTT_READ_BUF, MQTT_BUF_LEN) != 0 ) {
			//TODO add message to log
			continue;
		}
		if (mqtt_client_connect() < 0) continue;
		if (mqtt_client_reg_dev_on_home_assist() != 0) continue;

		generate_status_topik(topik_name, 0);
		while (1){
			xQueuePeek(mqttQHandle, &MQTT_cred, 0);
			if (MQTT_cred.enable == 0){
				mqtt_disconnect();
				break;
			}
			xQueuePeek(PowerDataQHandle, &PowerData, 0);
			generate_key_value_JSON(topik_payload, dev_class_energy, PowerData.KWatt_h);
			if (send_data_to_topik(topik_name, topik_payload) != 0 ) break;

			generate_key_value_JSON(topik_payload, dev_class_voltage, PowerData.Voltage);
			if (send_data_to_topik(topik_name, topik_payload) != 0 ) break;

			generate_key_value_JSON(topik_payload, dev_class_current, PowerData.Current);
			if (send_data_to_topik(topik_name, topik_payload) != 0 ) break;

			generate_key_value_JSON(topik_payload, dev_class_power_factor, PowerData.PowerFactor * 100);
			if (send_data_to_topik(topik_name, topik_payload) != 0 ) break;

			generate_key_value_JSON(topik_payload, dev_class_power, PowerData.ActivePower);
			if (send_data_to_topik(topik_name, topik_payload) != 0 ) break;

			generate_key_value_JSON(topik_payload, dev_class_apparent_power, PowerData.ApparPower);
			if (send_data_to_topik(topik_name, topik_payload) != 0 ) break;

			osDelay(delay30s);
		}
		osDelay(delay1s);
	}
  /* USER CODE END vMQTT_Task */
}

void vResetWatchDog(void *argument)
{
  /* USER CODE BEGIN vResetWatchDog */
  /* Infinite loop */
  for(;;)
  {
	HAL_IWDG_Refresh(&hiwdg);
    osDelay(delay0_5s);
  }
  /* USER CODE END vResetWatchDog */
}

void vSendBroadcast(void *argument)
{
  /* USER CODE BEGIN vSendBroadcast */
	Ethernet_info_struct	EthernetInfo;
	uint8_t 				broadcastIP[4] ;

	#define	buffer_len 		256
	char 					buffer[buffer_len];
	int16_t					string_len;

   /* Infinite loop */
  for(;;)
  {
	xQueuePeek(EthernetInfoQHandle,  &EthernetInfo, 0);
	if ((EthernetInfo.link != ETH_LINK_UP) || (assigned_ip() != true)){
		osDelay(delay10s);
		continue;
	}

	broadcastIP[0] = EthernetInfo.ip[0] | ( ~ EthernetInfo.sn[0]);
	broadcastIP[1] = EthernetInfo.ip[1] | ( ~ EthernetInfo.sn[1]);
	broadcastIP[2] = EthernetInfo.ip[2] | ( ~ EthernetInfo.sn[2]);
	broadcastIP[3] = EthernetInfo.ip[3] | ( ~ EthernetInfo.sn[3]);

	set_broadcast_message_eth_info(&EthernetInfo);
	string_len = get_broadcast_message_payload((char *)buffer, buffer_len);
	if (string_len < 0) continue ;

	SocketMutexTake();
	ServiceSockMutexTake();
	socket(SERVICE_SOCKET, Sn_MR_UDP, 5000, 0x00);
	sendto(SERVICE_SOCKET, (uint8_t *)buffer, string_len, (uint8_t *)broadcastIP, 5000);

	ServiceSockMutexRelease();
	SocketMutexRelease();
    osDelay(delay5s);
  }
  /* USER CODE END vSendBroadcast */
}

void HAL_TIM_PeriodElapsedCallback(TIM_HandleTypeDef *htim)
{
  if (htim->Instance == TIM1) {
    HAL_IncTick();
  }
}

void Error_Handler(void)
{
  __disable_irq();
  while (1)
  {
  }
}

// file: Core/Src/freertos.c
/* USER CODE BEGIN Header */
/**
  ******************************************************************************
  * File Name          : freertos.c
  * Description        : Code for freertos applications
  ******************************************************************************
  * @attention
  *
  * Copyright (c) 2024 STMicroelectronics.
  * All rights reserved.
  *
  * This software is licensed under terms that can be found in the LICENSE file
  * in the root directory of this software component.
  * If no LICENSE file comes with this software, it is provided AS-IS.
  *
  ******************************************************************************
  */
/* USER CODE END Header */

#include "FreeRTOS.h"
#include "task.h"
#include "main.h"
#include "mqtt_app.h"

/* Hook prototypes */
void configureTimerForRunTimeStats(void);
unsigned long getRunTimeCounterValue(void);
void vApplicationTickHook(void);

/* USER CODE BEGIN 1 */
/* Functions needed when configGENERATE_RUN_TIME_STATS is on */
__weak void configureTimerForRunTimeStats(void)
{

}

__weak unsigned long getRunTimeCounterValue(void)
{
return 0;
}
/* USER CODE END 1 */

/* USER CODE BEGIN 3 */
void vApplicationTickHook( void )
{
   /* This function will be called by each tick interrupt if
   configUSE_TICK_HOOK is set to 1 in FreeRTOSConfig.h. User code can be
   added here, but the tick hook is called from an interrupt context, so
   code must not attempt to block, and only the interrupt safe FreeRTOS API
   functions can be used (those that end in FromISR()). */
	mqtt_1ms_tik();
}
/* USER CODE END 3 */
